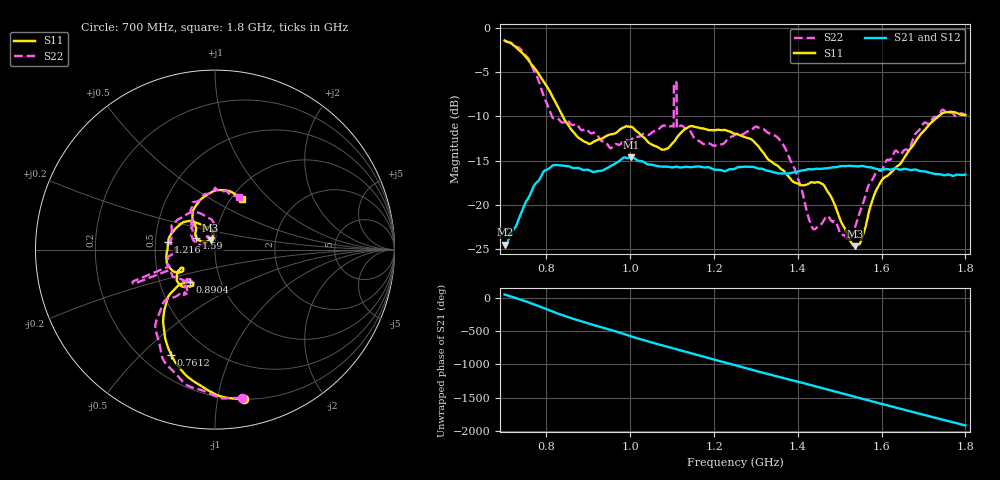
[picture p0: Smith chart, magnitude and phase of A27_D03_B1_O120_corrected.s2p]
! Created with skrf 1.9.0 (http://scikit-rf.org).
# Hz S RI R 50.0
!freq ReS11 ImS11 ReS21 ImS21 ReS12 ImS12 ReS22 ImS22
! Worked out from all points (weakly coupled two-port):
!   1601 points, 700 MHz to 1.8 GHz, reference 50 ohm
!   highest |S21| = -14.61 dB at 1.002 GHz (marker M1); lowest = -24.5 dB at 700.7 MHz (marker M2)
!   lowest |S11| = -24.7 dB at 1.536 GHz (marker M3), VSWR 1.12, Z = 47.3 + j5.01 ohm
!   |S11| at or under -10 dB: 838.6 MHz to 1.735 GHz (896.8 MHz wide, 69.7 % of centre)
!   |S22| runs from -24.1 to -1.5 dB; largest |S21 - S12| = 0.0035
!   S11 on the Smith chart (normalised r, x): 700 MHz: 0.20, -1.19; 761.2 MHz: 0.32, -0.62; 890.4 MHz: 0.71, -0.27; 1.216 GHz: 0.58, +0.06; 1.59 GHz: 0.80, +0.11; 1.8 GHz: 1.12, +0.71
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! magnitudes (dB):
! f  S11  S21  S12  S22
! 700 MHz  -1.4  -24.5  -24.3  -1.5
! 700.7 MHz  -1.4  -24.5  -24.2  -1.5
! 761.2 MHz  -3.9  -18.8  -18.7  -3.9
! 814.8 MHz  -7.8  -15.6  -15.6  -10.1
! 883.6 MHz  -12.6  -16.0  -15.9  -11.6
! 890.4 MHz  -12.9  -16.1  -16.0  -11.5
! 1.002 GHz  -11.2  -14.6  -14.7  -12.6
! 1.067 GHz  -13.5  -15.6  -15.6  -11.5
! 1.098 GHz  -13.2  -15.8  -15.8  -11.1
! 1.105 GHz  -12.9  -15.7  -15.7  -6.2
! 1.117 GHz  -12.1  -15.8  -15.7  -11.2
! 1.216 GHz  -11.6  -16.1  -16.1  -13.2
! 1.25 GHz  -12.0  -15.9  -15.8  -12.1
! 1.356 GHz  -15.8  -16.5  -16.4  -12.6
! 1.434 GHz  -17.5  -16.0  -16.0  -22.5
! 1.464 GHz  -18.0  -15.9  -15.9  -21.5
! 1.52 GHz  -23.7  -15.6  -15.6  -24.1
! 1.536 GHz  -24.7  -15.6  -15.6  -22.6
! 1.59 GHz  -18.1  -16.0  -16.0  -16.1
! 1.617 GHz  -16.6  -16.0  -16.0  -14.9
! 1.738 GHz  -9.9  -16.5  -16.6  -9.8
! 1.8 GHz  -9.8  -16.6  -16.6  -9.9
